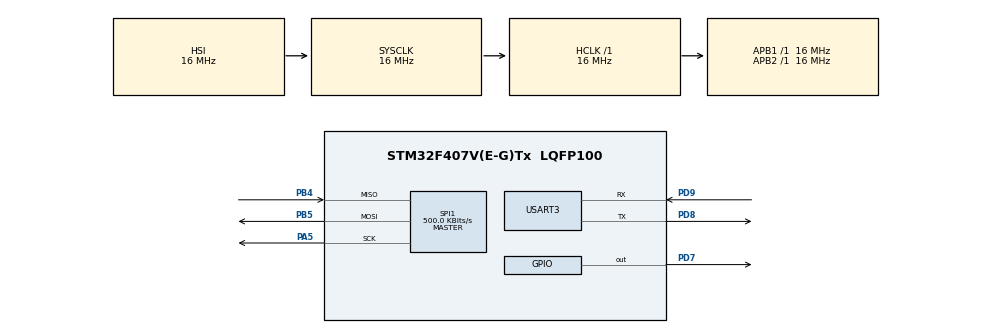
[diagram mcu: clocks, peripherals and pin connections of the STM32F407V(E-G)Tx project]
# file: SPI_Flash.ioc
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Mcu.Family=STM32F4
Mcu.Name=STM32F407V(E-G)Tx
Mcu.Package=LQFP100
NVIC.PriorityGroup=NVIC_PRIORITYGROUP_4
PA5.Mode=Full_Duplex_Master
PA5.Signal=SPI1_SCK
PB4.Mode=Full_Duplex_Master
PB4.Signal=SPI1_MISO
PB5.Mode=Full_Duplex_Master
PB5.Signal=SPI1_MOSI
PD7.Signal=GPIO_Output
PD8.Mode=Asynchronous
PD8.Signal=USART3_TX
PD9.Mode=Asynchronous
PD9.Signal=USART3_RX
ProjectManager.HeapSize=0x200
ProjectManager.StackSize=0x400
ProjectManager.TargetToolchain=STM32CubeIDE
RCC.AHBFreq_Value=16000000
RCC.APB1Freq_Value=16000000
RCC.APB2Freq_Value=16000000
RCC.CortexFreq_Value=16000000
RCC.HSE_VALUE=25000000
RCC.HSI_VALUE=16000000
RCC.LSE_VALUE=32768
RCC.SYSCLKFreq_VALUE=16000000
RCC.VCOOutputFreq_Value=192000000
SPI1.BaudRatePrescaler=SPI_BAUDRATEPRESCALER_32
SPI1.CalculateBaudRate=500.0 KBits/s
SPI1.Direction=SPI_DIRECTION_2LINES
SPI1.Mode=SPI_MODE_MASTER
SPI1.VirtualType=VM_MASTER
USART3.VirtualMode=VM_ASYNC
board=custom

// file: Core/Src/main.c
/* USER CODE BEGIN Header */
/**
  ******************************************************************************
  * @file           : main.c
  * @brief          : Main program body
  ******************************************************************************
  * @attention
  *
  * <h2><center>&copy; Copyright (c) 2021 STMicroelectronics.
  * All rights reserved.</center></h2>
  *
  * This software component is licensed by ST under BSD 3-Clause license,
  * the "License"; You may not use this file except in compliance with the
  * License. You may obtain a copy of the License at:
  *                        opensource.org/licenses/BSD-3-Clause
  *
  ******************************************************************************
  */
/* USER CODE END Header */
#include "main.h"

/* USER CODE BEGIN Includes */

#include "MY_FLASH.h";

/* USER CODE END Includes */

/* USER CODE BEGIN PD */
#ifdef __GNUC__
  /* With GCC, small printf (option LD Linker->Libraries->Small printf
     set to 'Yes') calls __io_putchar() */
  #define PUTCHAR_PROTOTYPE int __io_putchar(int ch)
#else
  #define PUTCHAR_PROTOTYPE int fputc(int ch, FILE *f)
#endif /* __GNUC__ */
/* USER CODE END PD */

SPI_HandleTypeDef hspi1;

UART_HandleTypeDef huart3;

void SystemClock_Config(void);
static void MX_GPIO_Init(void);
static void MX_SPI1_Init(void);
static void MX_USART3_UART_Init(void);

int main(void)
{

  /* MCU Configuration--------------------------------------------------------*/

  /* Reset of all peripherals, Initializes the Flash interface and the Systick. */
  HAL_Init();

  /* Configure the system clock */
  SystemClock_Config();

  /* Initialize all configured peripherals */
  MX_GPIO_Init();
  MX_SPI1_Init();
  MX_USART3_UART_Init();
  /* USER CODE BEGIN 2 */
  MY_FLASH_SetSectorAddrs(11, 0x080E0000);

  /* USER CODE END 2 */

  /* Infinite loop */
  /* USER CODE BEGIN WHILE */
//  HAL_GPIO_WritePin(GPIOD, GPIO_PIN_7, GPIO_PIN_SET);
//  HAL_Delay(100);
//
//  uint8_t TransmitArray[20] = { 0 };
//  uint8_t ReceiveArray[20] = { 0 };
//
//  TransmitArray[0] = 0x90;
//  TransmitArray[1] = 0x00;
//  TransmitArray[2] = 0x00;
//  TransmitArray[3] = 0x00;
uint8_t i = 0;
uint16_t testRead[20];
  while (1)
  {
	  MY_FLASH_ReadN(0, testRead, 20, DATA_TYPE_8);

	  printf("%d", testRead[i]);
	  i++;
	  if(i == 19)
		  i = 0;

	  HAL_Delay(1000);
//	  HAL_GPIO_WritePin(GPIOD, GPIO_PIN_7, GPIO_PIN_RESET);
//
//	  HAL_SPI_TransmitReceive(&hspi1, TransmitArray, ReceiveArray, 8, 100);
//
//	  HAL_GPIO_WritePin(GPIOD, GPIO_PIN_7, GPIO_PIN_SET);
//
//	  HAL_Delay(1000);
    /* USER CODE END WHILE */

  }
}

void SystemClock_Config(void)
{
  RCC_OscInitTypeDef RCC_OscInitStruct = {0};
  RCC_ClkInitTypeDef RCC_ClkInitStruct = {0};

  /** Configure the main internal regulator output voltage
  */
  __HAL_RCC_PWR_CLK_ENABLE();
  __HAL_PWR_VOLTAGESCALING_CONFIG(PWR_REGULATOR_VOLTAGE_SCALE1);
  /** Initializes the RCC Oscillators according to the specified parameters
  * in the RCC_OscInitTypeDef structure.
  */
  RCC_OscInitStruct.OscillatorType = RCC_OSCILLATORTYPE_HSI;
  RCC_OscInitStruct.HSIState = RCC_HSI_ON;
  RCC_OscInitStruct.HSICalibrationValue = RCC_HSICALIBRATION_DEFAULT;
  RCC_OscInitStruct.PLL.PLLState = RCC_PLL_NONE;
  if (HAL_RCC_OscConfig(&RCC_OscInitStruct) != HAL_OK)
  {
    Error_Handler();
  }
  /** Initializes the CPU, AHB and APB buses clocks
  */
  RCC_ClkInitStruct.ClockType = RCC_CLOCKTYPE_HCLK|RCC_CLOCKTYPE_SYSCLK
                              |RCC_CLOCKTYPE_PCLK1|RCC_CLOCKTYPE_PCLK2;
  RCC_ClkInitStruct.SYSCLKSource = RCC_SYSCLKSOURCE_HSI;
  RCC_ClkInitStruct.AHBCLKDivider = RCC_SYSCLK_DIV1;
  RCC_ClkInitStruct.APB1CLKDivider = RCC_HCLK_DIV1;
  RCC_ClkInitStruct.APB2CLKDivider = RCC_HCLK_DIV1;

  if (HAL_RCC_ClockConfig(&RCC_ClkInitStruct, FLASH_LATENCY_0) != HAL_OK)
  {
    Error_Handler();
  }
}

static void MX_SPI1_Init(void)
{

  /* SPI1 parameter configuration*/
  hspi1.Instance = SPI1;
  hspi1.Init.Mode = SPI_MODE_MASTER;
  hspi1.Init.Direction = SPI_DIRECTION_2LINES;
  hspi1.Init.DataSize = SPI_DATASIZE_8BIT;
  hspi1.Init.CLKPolarity = SPI_POLARITY_LOW;
  hspi1.Init.CLKPhase = SPI_PHASE_1EDGE;
  hspi1.Init.NSS = SPI_NSS_SOFT;
  hspi1.Init.BaudRatePrescaler = SPI_BAUDRATEPRESCALER_32;
  hspi1.Init.FirstBit = SPI_FIRSTBIT_MSB;
  hspi1.Init.TIMode = SPI_TIMODE_DISABLE;
  hspi1.Init.CRCCalculation = SPI_CRCCALCULATION_DISABLE;
  hspi1.Init.CRCPolynomial = 10;
  if (HAL_SPI_Init(&hspi1) != HAL_OK)
  {
    Error_Handler();
  }

}

static void MX_USART3_UART_Init(void)
{

  huart3.Instance = USART3;
  huart3.Init.BaudRate = 115200;
  huart3.Init.WordLength = UART_WORDLENGTH_8B;
  huart3.Init.StopBits = UART_STOPBITS_1;
  huart3.Init.Parity = UART_PARITY_NONE;
  huart3.Init.Mode = UART_MODE_TX_RX;
  huart3.Init.HwFlowCtl = UART_HWCONTROL_NONE;
  huart3.Init.OverSampling = UART_OVERSAMPLING_16;
  if (HAL_UART_Init(&huart3) != HAL_OK)
  {
    Error_Handler();
  }

}

static void MX_GPIO_Init(void)
{
  GPIO_InitTypeDef GPIO_InitStruct = {0};

  /* GPIO Ports Clock Enable */
  __HAL_RCC_GPIOA_CLK_ENABLE();
  __HAL_RCC_GPIOD_CLK_ENABLE();
  __HAL_RCC_GPIOB_CLK_ENABLE();

  /*Configure GPIO pin Output Level */
  HAL_GPIO_WritePin(GPIOD, GPIO_PIN_7, GPIO_PIN_RESET);

  /*Configure GPIO pin : PD7 */
  GPIO_InitStruct.Pin = GPIO_PIN_7;
  GPIO_InitStruct.Mode = GPIO_MODE_OUTPUT_PP;
  GPIO_InitStruct.Pull = GPIO_NOPULL;
  GPIO_InitStruct.Speed = GPIO_SPEED_FREQ_LOW;
  HAL_GPIO_Init(GPIOD, &GPIO_InitStruct);

}

/* USER CODE BEGIN 4 */
PUTCHAR_PROTOTYPE
{
  /* Place your implementation of fputc here */
  /* e.g. write a character to the EVAL_COM1 and Loop until the end of transmission */
  HAL_UART_Transmit(&huart3, (uint8_t *)&ch, 1, 0xFFFF);

  return ch;
}

/* USER CODE END 4 */

void Error_Handler(void)
{
  __disable_irq();
  while (1)
  {
  }
}

/************************ (C) COPYRIGHT STMicroelectronics *****END OF FILE****/
